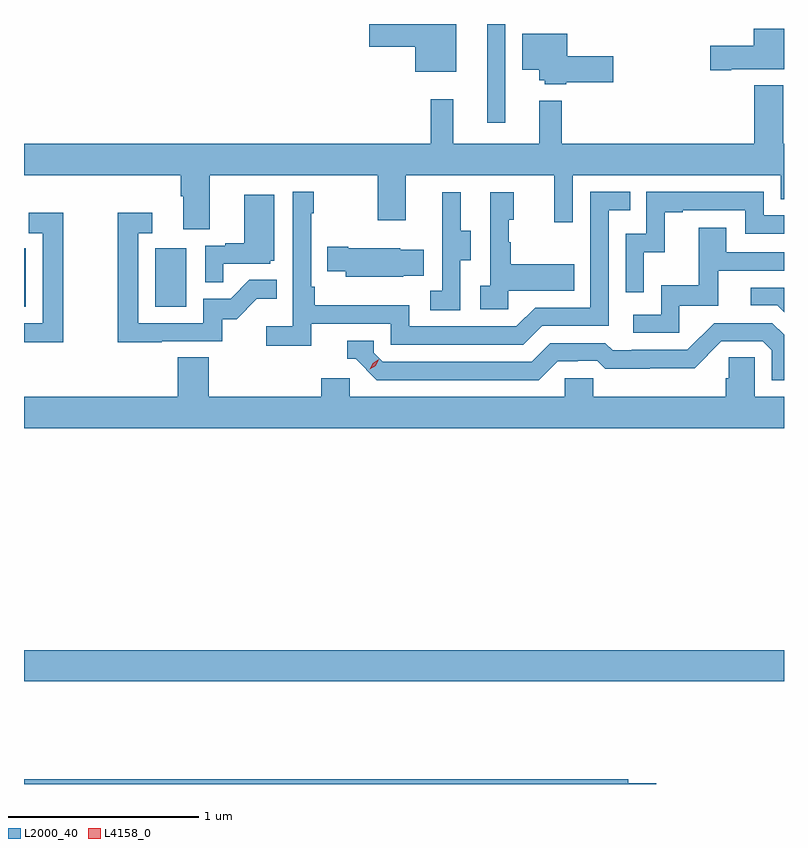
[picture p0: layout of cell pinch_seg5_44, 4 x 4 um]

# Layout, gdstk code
import gdstk
lib = gdstk.Library(unit=1e-6, precision=1e-09)
def R(c, l, rs):  # rectangles x0, y0, x1, y1
    for r in rs: c.add(gdstk.rectangle(r[:2], r[2:], *l))
def P(c, l, *ps):  # polygons
    for p in ps: c.add(gdstk.Polygon(p, *l))
L2000_40 = (2000, 40)
L4158_0 = (4158, 0)

pinch_seg5_44 = lib.new_cell('pinch_seg5_44')
R(pinch_seg5_44, L2000_40, [(1112.347,907.376,1116.347,907.54), (1112.347,909.348,1112.356,909.655), (1113.038,909.348,1113.202,909.655), (1114.784,910.314,1114.881,910.835)])
P(pinch_seg5_44, L2000_40, [(1114.621,910.835),(1114.164,910.835),(1114.164,910.715),(1114.406,910.715),(1114.406,910.583),(1114.621,910.583)],
  [(1116.07,910.598),(1116.347,910.598),(1116.347,910.81),(1116.188,910.81),(1116.188,910.72),(1115.958,910.72),(1115.958,910.591),(1116.07,910.591)],
  [(1115.202,910.528),(1115.449,910.528),(1115.449,910.665),(1115.206,910.665),(1115.206,910.783),(1114.97,910.783),(1114.97,910.595),(1115.06,910.595),(1115.06,910.539),(1115.088,910.539),(1115.088,910.517),(1115.202,910.517)],
  [(1113.325,910.04),(1114.21,910.04),(1114.21,909.801),(1114.357,909.801),(1114.357,910.04),(1115.138,910.04),(1115.138,909.792),(1115.235,909.792),(1115.235,910.04),(1116.33,910.04),(1116.33,909.913),(1116.347,909.913),(1116.347,910.204),(1116.343,910.204),(1116.343,910.513),(1116.191,910.513),(1116.191,910.204),(1115.177,910.204),(1115.177,910.432),(1115.06,910.432),(1115.06,910.204),(1114.607,910.204),(1114.607,910.438),(1114.489,910.438),(1114.489,910.204),(1112.347,910.204),(1112.347,910.04),(1113.173,910.04),(1113.173,909.928),(1113.185,909.928),(1113.185,909.754),(1113.325,909.754)],
  [(1113.86,909.258),(1114.278,909.258),(1114.278,909.147),(1114.975,909.147),(1115.074,909.246),(1115.424,909.246),(1115.424,909.855),(1115.537,909.855),(1115.537,909.951),(1115.328,909.951),(1115.328,909.342),(1115.037,909.342),(1114.938,909.243),(1114.374,909.243),(1114.374,909.355),(1113.878,909.355),(1113.878,909.451),(1113.858,909.451),(1113.858,909.839),(1113.871,909.839),(1113.871,909.952),(1113.762,909.952),(1113.762,909.244),(1113.621,909.244),(1113.621,909.142),(1113.86,909.142)],
  [(1115.61,909.635),(1115.72,909.635),(1115.72,909.843),(1115.815,909.843),(1115.815,909.855),(1116.144,909.855),(1116.144,909.732),(1116.347,909.732),(1116.347,909.828),(1116.24,909.828),(1116.24,909.951),(1115.622,909.951),(1115.622,909.732),(1115.514,909.732),(1115.514,909.423),(1115.61,909.423)],
  [(1114.896,909.431),(1115.243,909.431),(1115.243,909.571),(1114.909,909.571),(1114.909,909.686),(1114.899,909.686),(1114.899,909.804),(1114.924,909.804),(1114.924,909.949),(1114.8,909.949),(1114.8,909.458),(1114.749,909.458),(1114.749,909.333),(1114.896,909.333)],
  [(1114.644,909.592),(1114.699,909.592),(1114.699,909.747),(1114.645,909.747),(1114.645,909.949),(1114.547,909.949),(1114.547,909.735),(1114.548,909.735),(1114.548,909.431),(1114.485,909.431),(1114.485,909.328),(1114.644,909.328)],
  [(1113.395,909.573),(1113.642,909.573),(1113.642,909.588),(1113.664,909.588),(1113.664,909.937),(1113.506,909.937),(1113.506,909.682),(1113.407,909.682),(1113.407,909.669),(1113.3,909.669),(1113.3,909.475),(1113.395,909.475)],
  [(1112.554,909.841),(1112.373,909.841),(1112.373,909.735),(1112.445,909.735),(1112.445,909.261),(1112.347,909.261),(1112.347,909.16),(1112.554,909.16)],
  [(1113.071,909.165),(1113.39,909.165),(1113.39,909.282),(1113.466,909.282),(1113.573,909.389),(1113.677,909.389),(1113.677,909.488),(1113.533,909.488),(1113.435,909.39),(1113.291,909.39),(1113.291,909.261),(1112.949,909.261),(1112.949,909.735),(1113.022,909.735),(1113.022,909.841),(1112.841,909.841),(1112.841,909.16),(1113.071,909.16)],
  [(1115.796,909.351),(1116.001,909.351),(1116.001,909.537),(1116.347,909.537),(1116.347,909.633),(1116.043,909.633),(1116.043,909.763),(1115.899,909.763),(1115.899,909.46),(1115.7,909.46),(1115.7,909.306),(1115.553,909.306),(1115.553,909.21),(1115.796,909.21)],
  [(1114.343,909.509),(1114.451,909.509),(1114.451,909.646),(1114.326,909.646),(1114.326,909.655),(1114.054,909.655),(1114.054,909.663),(1113.943,909.663),(1113.943,909.533),(1114.041,909.533),(1114.041,909.506),(1114.343,909.506)],
  [(1116.347,909.447),(1116.171,909.447),(1116.171,909.354),(1116.312,909.354),(1116.347,909.319)],
  [(1115.155,909.06),(1115.262,909.06),(1115.262,909.063),(1115.365,909.063),(1115.407,909.021),(1115.64,909.021),(1115.64,909.023),(1115.876,909.023),(1116.018,909.165),(1116.234,909.165),(1116.282,909.117),(1116.282,908.961),(1116.347,908.961),(1116.347,909.199),(1116.285,909.261),(1115.979,909.261),(1115.838,909.12),(1115.545,909.12),(1115.545,909.117),(1115.446,909.117),(1115.407,909.156),(1115.118,909.156),(1115.019,909.057),(1114.236,909.057),(1114.188,909.105),(1114.188,909.168),(1114.049,909.168),(1114.049,909.072),(1114.092,909.072),(1114.203,908.961),(1115.056,908.961)],
  [(1116.347,908.872),(1116.192,908.872),(1116.192,909.08),(1116.055,909.08),(1116.055,908.97),(1116.041,908.97),(1116.041,908.872),(1115.343,908.872),(1115.343,908.97),(1115.193,908.97),(1115.193,908.872),(1114.062,908.872),(1114.062,908.97),(1113.911,908.97),(1113.911,908.872),(1113.32,908.872),(1113.32,909.08),(1113.155,909.08),(1113.155,908.872),(1112.347,908.872),(1112.347,908.708),(1116.347,908.708)],
  [(1115.675,906.84),(1115.528,906.84),(1115.528,906.86),(1112.347,906.86),(1112.347,906.835),(1115.675,906.835)])
P(pinch_seg5_44, L4158_0, [(1114.167,909.017),(1114.167,909.017),(1114.183,909.05),(1114.214,909.07),(1114.214,909.07),(1114.214,909.069),(1114.198,909.037),(1114.167,909.017)])

lib.write_gds('pinch_seg5_44.gds')
